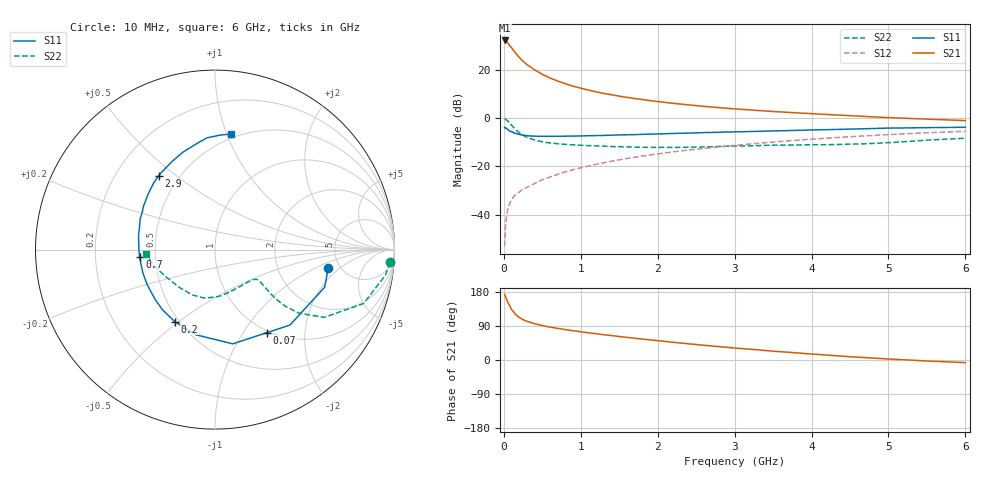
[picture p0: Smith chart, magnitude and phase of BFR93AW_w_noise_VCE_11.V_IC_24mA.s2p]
! Infineon Technologies  Discrete & RF Semiconductors
! BFR93AW
! VCE =  11. V,  IC =  24 mA
! Common Emitter S-Parameters:  Jan 2017
# GHz  S  MA  R  50
!  f  S11  S21  S12  S22
! GHz  MAG  ANG  MAG  ANG  MAG  ANG  MAG  ANG
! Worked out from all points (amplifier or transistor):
!   77 points, 10 MHz to 6 GHz, reference 50 ohm
!   highest |S21| = 32.3 dB at 10 MHz (marker M1)
!   |S21| within 3 dB of that: start of sweep to 99.35 MHz
!   unconditionally stable (mu >= 1): 663 MHz to 2.065 GHz
!   at 130 MHz: K = 0.46, MSG = 30.3 dB, |S12| = -32.5 dB
!   at 2.2 GHz: K = 0.99, MSG = 10.1 dB, |S12| = -14.0 dB
!   at 6 GHz: K = 0.85, MSG = 2.2 dB, |S12| = -5.4 dB
!   lowest NFmin = 1.63 dB at 450 MHz
!   S11 on the Smith chart (normalised r, x): 10 MHz: 4.01, -1.42; 70 MHz: 0.98, -1.29; 200 MHz: 0.48, -0.48; 700 MHz: 0.41, -0.04; 2.9 GHz: 0.39, +0.43; 6 GHz: 0.46, +1.03
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0.01  0.6392 -9.4  41.25 173.4  0.0022 87.8  0.978 -4.2
0.02  0.646 -18.9  41.22 168.0  0.005 78.9  0.96 -8.6
0.05  0.5926 -45.2  36.97 152.2  0.0127 71.6  0.8812 -19.9
0.07  0.5458 -57.9  33.4 145.6  0.0158 66.6  0.8114 -24.1
0.1  0.5343 -79.3  29.12 132.9  0.0205 61.9  0.7168 -31.8
0.15  0.4864 -102.7  22.82 120.6  0.0258 57.6  0.5855 -37.2
0.2  0.4596 -119.1  18.39 112.4  0.0294 57.9  0.4992 -38.9
0.25  0.4448 -131.1  15.31 106.4  0.0336 57.8  0.4418 -39.0
0.3  0.4343 -140.1  13.01 102.1  0.0367 59.4  0.4005 -38.5
0.4  0.4253 -152.7  10.06 95.6  0.044 62.4  0.352 -37.1
0.5  0.4222 -161.8  8.143 90.8  0.0526 64.7  0.3243 -36.1
0.6  0.4207 -168.7  6.862 86.8  0.0602 66.1  0.3059 -35.3
0.7  0.4216 -174.2  5.914 83.4  0.0679 67.1  0.295 -35.2
0.9  0.4255 176.7  4.639 77.2  0.0851 68.5  0.2799 -36.3
1.1  0.4334 169.3  3.842 71.8  0.1016 69.0  0.2699 -38.5
1.5  0.4505 157.9  2.871 62.0  0.1367 68.1  0.256 -45.8
2.1  0.4765 143.3  2.13 48.9  0.1907 64.9  0.2472 -61.9
2.9  0.5167 127.5  1.611 33.5  0.2635 58.9  0.2614 -86.2
3.1  0.5252 123.7  1.525 30.1  0.282 57.1  0.2654 -91.8
4.1  0.5748 106.9  1.219 14.4  0.3759 47.5  0.2818 -120.0
5.1  0.6261 92.9  1.014 1.6  0.4652 36.8  0.3177 -153.8
6  0.65 82.2  0.892 -7.0  0.5359 26.5  0.3853 -176.5
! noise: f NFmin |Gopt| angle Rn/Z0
0.45  1.63  0.16  169  0.16
0.9  1.9  0.24  180  0.16
1.9  2.91  0.49  -137  0.25
2.4  3.56  0.55  -125  0.49
